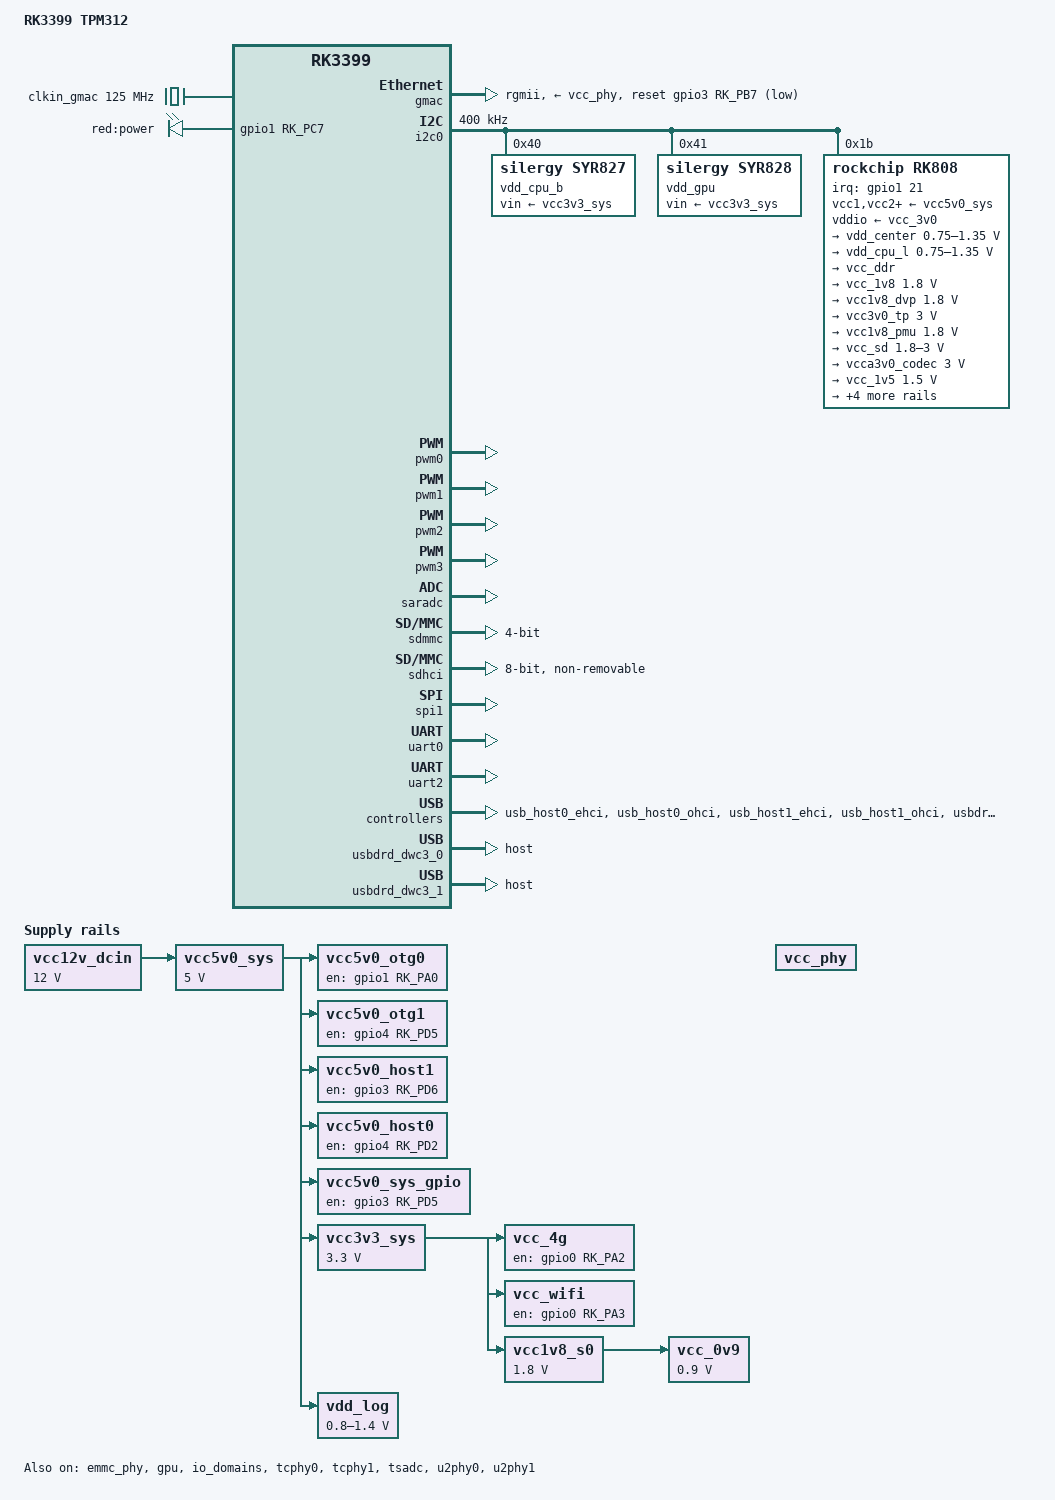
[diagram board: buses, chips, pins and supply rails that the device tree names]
// SPDX-License-Identifier: (GPL-2.0+ OR MIT)
 /*
  * Copyright (c) 2017 Fuzhou Rockchip Electronics Co., Ltd.
  * Copyright (c) 2023 LunaticKochiya <125438787@qq.com>
  */
/dts-v1/;
#include <dt-bindings/pwm/pwm.h>
#include <dt-bindings/input/input.h>
#include <dt-bindings/interrupt-controller/irq.h>
#include "rk3399.dtsi"
#include "rk3399-opp.dtsi"

/ {
	model = "RK3399 TPM312";
	compatible = "rk3399,tpm312", "rockchip,rk3399";

	/delete-node/ display-subsystem;

	aliases {
		ethernet0 = &gmac;
		mmc0 = &sdhci;
		mmc1 = &sdmmc;
		mmc2 = &sdio0;
	};

	chosen {
		bootargs = "earlycon=uart8250,mmio32,0xff1a0000 swiotlb=1 coherent_pool=1m";
		stdout-path = "serial2:1500000n8";
	};

	fiq_debugger: fiq-debugger {
		compatible = "rockchip,fiq-debugger";
		rockchip,serial-id = <2>;
		rockchip,wake-irq = <0>;
		rockchip,irq-mode-enable = <0>;  /* If enable uart uses irq instead of fiq */
		rockchip,baudrate = <1500000>;  /* Only 115200 and 1500000 */
		pinctrl-names = "default";
		pinctrl-0 = <&uart2c_xfer>;
		interrupts = <GIC_SPI 150 IRQ_TYPE_LEVEL_HIGH 0>;
	};

	clkin_gmac: external-gmac-clock {
		compatible = "fixed-clock";
		clock-frequency = <125000000>;
		clock-output-names = "clkin_gmac";
		#clock-cells = <0>;
	};

	vcc5v0_otg0: vcc5v0-otg0-regulator {
		pinctrl-0 = <&otg0_vbus_drv>;
		gpio = <&gpio1 RK_PA0 GPIO_ACTIVE_HIGH>;
		regulator-name = "vcc5v0_otg0";
		enable-active-high;
		compatible = "regulator-fixed";
		pinctrl-names = "default";
		regulator-always-on;
		vin-supply = <&vcc5v0_sys>;
	};

	vcc5v0_otg1: vcc5v0-otg1-regulator {
		pinctrl-0 = <&otg1_vbus_drv>;
		gpio = <&gpio4 RK_PD5 GPIO_ACTIVE_HIGH>;
		regulator-name = "vcc5v0_otg1";
		enable-active-high;
		compatible = "regulator-fixed";
		pinctrl-names = "default";
		regulator-always-on;
		vin-supply = <&vcc5v0_sys>;
	};

	vcc5v0_host1: vcc5v0-host1-regulator {
		pinctrl-0 = <&host1_vbus_drv>;
		gpio = <&gpio3 RK_PD6 GPIO_ACTIVE_HIGH>;
		regulator-name = "vcc5v0_host1";
		enable-active-high;
		compatible = "regulator-fixed";
		pinctrl-names = "default";
		regulator-always-on;
		vin-supply = <&vcc5v0_sys>;
	};

	vcc5v0_host0: vcc5v0-host0-regulator {
		pinctrl-0 = <&host0_vbus_drv>;
		gpio = <&gpio4 RK_PD2 GPIO_ACTIVE_HIGH>;
		regulator-name = "vcc5v0_host0";
		enable-active-high;
		compatible = "regulator-fixed";
		pinctrl-names = "default";
		regulator-always-on;
		vin-supply = <&vcc5v0_sys>;
	};

	vcc5v0-sys {
		regulator-boot-on;
		pinctrl-0 = <&vcc5sys_gpio>;
		gpio = <&gpio3 RK_PD5 GPIO_ACTIVE_HIGH>;
		regulator-name = "vcc5v0_sys_gpio";
		enable-active-high;
		compatible = "regulator-fixed";
		pinctrl-names = "default";
		regulator-always-on;
		vin-supply = <&vcc5v0_sys>;
	};

	vcc-4g {
		regulator-boot-on;
		pinctrl-0 = <&vcc_4g_gpio>;
		gpio = <&gpio0 RK_PA2 GPIO_ACTIVE_HIGH>;
		regulator-name = "vcc_4g";
		enable-active-high;
		compatible = "regulator-fixed";
		pinctrl-names = "default";
		regulator-always-on;
		vin-supply = <&vcc3v3_sys>;
	};

	vcc-wifi {
		pinctrl-0 = <&wifi_host_wake_l>;
		gpio = <&gpio0 RK_PA3 GPIO_ACTIVE_HIGH>;
		regulator-name = "vcc_wifi";
		enable-active-high;
		compatible = "regulator-fixed";
		pinctrl-names = "default";
		regulator-always-on;
		vin-supply = <&vcc3v3_sys>;
	};

	leds {
		compatible = "gpio-leds";
		pinctrl-names = "default";
		pinctrl-0 = <&leds_pins>;
		power_led: led-0 {
			gpios = <&gpio1 RK_PC7 GPIO_ACTIVE_HIGH>;
			label = "red:power";
			default-state = "on";
			linux,default-trigger = "default-on";
			status = "okay";
		};
	};
//REPLACE  dc_5v
	vcc12v_dcin: dc-12v {
		compatible = "regulator-fixed";
		regulator-name = "vcc12v_dcin";
		regulator-always-on;
		regulator-boot-on;
		regulator-min-microvolt = <12000000>;
		regulator-max-microvolt = <12000000>;
	};

	vcc_phy: vcc-phy-regulator {
		compatible = "regulator-fixed";
		regulator-name = "vcc_phy";
		regulator-always-on;
		regulator-boot-on;
	};

	vcc5v0_sys: vcc-sys {
		compatible = "regulator-fixed";
		regulator-name = "vcc5v0_sys";
		regulator-min-microvolt = <5000000>;
		regulator-max-microvolt = <5000000>;
		regulator-always-on;
		regulator-boot-on;
		vin-supply = <&vcc12v_dcin>;
	};

	vcc3v3_sys: vcc3v3-sys {
		compatible = "regulator-fixed";
		regulator-name = "vcc3v3_sys";
		regulator-min-microvolt = <3300000>;
		regulator-max-microvolt = <3300000>;
		regulator-always-on;
		regulator-boot-on;
		vin-supply = <&vcc5v0_sys>;
	};

	vcc1v8_s0: vcc1v8-s0 {
		compatible = "regulator-fixed";
		regulator-name = "vcc1v8_s0";
		regulator-min-microvolt = <1800000>;
		regulator-max-microvolt = <1800000>;
		regulator-always-on;
		vin-supply = <&vcc3v3_sys>;
	};

	vcc_0v9: vcc-0v9 {
		compatible = "regulator-fixed";
		regulator-name = "vcc_0v9";
		regulator-always-on;
		regulator-boot-on;
		regulator-min-microvolt = <900000>;
		regulator-max-microvolt = <900000>;
		vin-supply = <&vcc1v8_s0>;
	};

	vdd_log: vdd-log {
		compatible = "pwm-regulator";
		pwms = <&pwm3 0 25000 1>;
		rockchip,pwm_voltage = <900000>;
		pwm-supply = <&vcc5v0_sys>;
		regulator-name = "vdd_log";
		regulator-min-microvolt = <800000>;
		regulator-max-microvolt = <1400000>;
		regulator-always-on;
		regulator-boot-on;
	};

};

&cpu_l0 {
	cpu-supply = <&vdd_cpu_l>;
};

&cpu_l1 {
	cpu-supply = <&vdd_cpu_l>;
};

&cpu_l2 {
	cpu-supply = <&vdd_cpu_l>;
};

&cpu_l3 {
	cpu-supply = <&vdd_cpu_l>;
};

&cpu_b0 {
	cpu-supply = <&vdd_cpu_b>;
};

&cpu_b1 {
	cpu-supply = <&vdd_cpu_b>;
};

&emmc_phy {
	status = "okay";
};

&gmac {
	assigned-clocks = <&cru SCLK_RMII_SRC>;
	assigned-clock-parents = <&clkin_gmac>;
	clock_in_out = "input";
	phy-supply = <&vcc_phy>;
	phy-mode = "rgmii";
	pinctrl-names = "default";
	pinctrl-0 = <&rgmii_pins>;
	snps,reset-gpio = <&gpio3 RK_PB7 GPIO_ACTIVE_LOW>;
	snps,reset-active-low;
	snps,reset-delays-us = <0 10000 50000>;
	tx_delay = <0x28>;
	rx_delay = <0x11>;
	status = "okay";
};

&gpu {
	status = "okay";
	mali-supply = <&vdd_gpu>;
};

&i2c0 {
	status = "okay";
	i2c-scl-rising-time-ns = <168>;
	i2c-scl-falling-time-ns = <4>;
	clock-frequency = <400000>;

	vdd_cpu_b: syr827@40 {
		compatible = "silergy,syr827";
		reg = <0x40>;
		regulator-compatible = "fan53555-reg";
		pinctrl-0 = <&vsel1_pin>;
		regulator-name = "vdd_cpu_b";
		regulator-min-microvolt = <712500>;
		regulator-max-microvolt = <1500000>;
		regulator-ramp-delay = <1000>;
		fcs,suspend-voltage-selector = <1>;
		regulator-always-on;
		regulator-boot-on;
		vin-supply = <&vcc3v3_sys>;
		regulator-state-mem {
			regulator-off-in-suspend;
		};
	};

	vdd_gpu: syr828@41 {
		compatible = "silergy,syr828";
		reg = <0x41>;
		regulator-compatible = "fan53555-reg";
		pinctrl-0 = <&vsel2_pin>;
		regulator-name = "vdd_gpu";
		regulator-min-microvolt = <712500>;
		regulator-max-microvolt = <1500000>;
		regulator-ramp-delay = <1000>;
		fcs,suspend-voltage-selector = <1>;
		regulator-always-on;
		regulator-boot-on;
		vin-supply = <&vcc3v3_sys>;
		regulator-initial-mode = <1>;
		regulator-state-mem {
			regulator-off-in-suspend;
		};
	};

	rk808: pmic@1b {
		compatible = "rockchip,rk808";
		reg = <0x1b>;
		interrupt-parent = <&gpio1>;
		interrupts = <21 IRQ_TYPE_LEVEL_LOW>;
		pinctrl-names = "default";
		pinctrl-0 = <&pmic_int_l &pmic_dvs2>;
		rockchip,system-power-controller;
		wakeup-source;
		#clock-cells = <1>;
		clock-output-names = "xin32k", "rk808-clkout2";

		vcc1-supply = <&vcc5v0_sys>;
		vcc2-supply = <&vcc5v0_sys>;
		vcc3-supply = <&vcc5v0_sys>;
		vcc4-supply = <&vcc5v0_sys>;
		vcc6-supply = <&vcc5v0_sys>;
		vcc7-supply = <&vcc5v0_sys>;
		vcc8-supply = <&vcc5v0_sys>;
		vcc9-supply = <&vcc5v0_sys>;
		vcc10-supply = <&vcc5v0_sys>;
		vcc11-supply = <&vcc5v0_sys>;
		vcc12-supply = <&vcc5v0_sys>;
		vddio-supply = <&vcc_3v0>;

		regulators {
			vdd_center: DCDC_REG1 {
				regulator-name = "vdd_center";
				regulator-min-microvolt = <750000>;
				regulator-max-microvolt = <1350000>;
				regulator-ramp-delay = <6001>;
				regulator-always-on;
				regulator-boot-on;
				regulator-state-mem {
					regulator-off-in-suspend;
				};
			};

			vdd_cpu_l: DCDC_REG2 {
				regulator-name = "vdd_cpu_l";
				regulator-min-microvolt = <750000>;
				regulator-max-microvolt = <1350000>;
				regulator-ramp-delay = <6001>;
				regulator-always-on;
				regulator-boot-on;
				regulator-state-mem {
					regulator-off-in-suspend;
				};
			};

			vcc_ddr: DCDC_REG3 {
				regulator-name = "vcc_ddr";
				regulator-always-on;
				regulator-boot-on;
				regulator-state-mem {
					regulator-on-in-suspend;
				};
			};

			vcc_1v8: DCDC_REG4 {
				regulator-name = "vcc_1v8";
				regulator-min-microvolt = <1800000>;
				regulator-max-microvolt = <1800000>;
				regulator-always-on;
				regulator-boot-on;
				regulator-state-mem {
					regulator-on-in-suspend;
					regulator-suspend-microvolt = <1800000>;
				};
			};

			vcc1v8_dvp: LDO_REG1 {
				regulator-name = "vcc1v8_dvp";
				regulator-min-microvolt = <1800000>;
				regulator-max-microvolt = <1800000>;
				regulator-always-on;
				regulator-boot-on;
				regulator-state-mem {
					regulator-on-in-suspend;
				};
			};

			vcc3v0_tp: LDO_REG2 {
				regulator-name = "vcc3v0_tp";
				regulator-min-microvolt = <3000000>;
				regulator-max-microvolt = <3000000>;
				regulator-always-on;
				regulator-boot-on;
				regulator-state-mem {
					regulator-off-in-suspend;
				};
			};

			vcc1v8_pmu: LDO_REG3 {
				regulator-name = "vcc1v8_pmu";
				regulator-min-microvolt = <1800000>;
				regulator-max-microvolt = <1800000>;
				regulator-always-on;
				regulator-boot-on;
				regulator-state-mem {
					regulator-on-in-suspend;
					regulator-suspend-microvolt = <1800000>;
				};
			};

			vcc_sd: LDO_REG4 {
				regulator-name = "vcc_sd";
				regulator-min-microvolt = <1800000>;
				regulator-max-microvolt = <3000000>;
				regulator-always-on;
				regulator-boot-on;
				regulator-state-mem {
					regulator-on-in-suspend;
					regulator-suspend-microvolt = <3000000>;
				};
			};

			vcca3v0_codec: LDO_REG5 {
				regulator-name = "vcca3v0_codec";
				regulator-min-microvolt = <3000000>;
				regulator-max-microvolt = <3000000>;
				regulator-always-on;
				regulator-boot-on;
				regulator-state-mem {
					regulator-off-in-suspend;
				};
			};

			vcc_1v5: LDO_REG6 {
				regulator-name = "vcc_1v5";
				regulator-min-microvolt = <1500000>;
				regulator-max-microvolt = <1500000>;
				regulator-always-on;
				regulator-boot-on;
				regulator-state-mem {
					regulator-on-in-suspend;
					regulator-suspend-microvolt = <1500000>;
				};
			};

			vcca1v8_codec: LDO_REG7 {
				regulator-name = "vcca1v8_codec";
				regulator-min-microvolt = <1800000>;
				regulator-max-microvolt = <1800000>;
				regulator-always-on;
				regulator-boot-on;
				regulator-state-mem {
					regulator-off-in-suspend;
				};
			};

			vcc_3v0: LDO_REG8 {
				regulator-name = "vcc_3v0";
				regulator-min-microvolt = <3000000>;
				regulator-max-microvolt = <3000000>;
				regulator-always-on;
				regulator-boot-on;
				regulator-state-mem {
					regulator-on-in-suspend;
					regulator-suspend-microvolt = <3000000>;
				};
			};

			vcc3v3_s3: SWITCH_REG1 {
				regulator-name = "vcc3v3_s3";
				regulator-always-on;
				regulator-boot-on;
				regulator-state-mem {
					regulator-off-in-suspend;
				};
			};

			vcc3v3_s0: SWITCH_REG2 {
				regulator-name = "vcc3v3_s0";
				regulator-always-on;
				regulator-boot-on;
				regulator-state-mem {
					regulator-off-in-suspend;
				};
			};
		};
	};
};

&io_domains {
	status = "okay";
	audio-supply = <&vcca1v8_codec>;
	bt656-supply = <&vcc1v8_dvp>;
	gpio1830-supply = <&vcc_3v0>;
	sdmmc-supply = <&vcc_sd>;
};

&pmu_io_domains {
	status = "okay";
	pmu1830-supply = <&vcc_3v0>;
};

&pinctrl {

	gmac {
		rgmii_sleep_pins: rgmii-sleep-pins {
			rockchip,pins =
				<3 RK_PB7 RK_FUNC_GPIO &pcfg_output_low>;
		};
	};

	pmic {
		vcc5sys_gpio: vcc5sys-gpio {
				rockchip,pins = <3 RK_PD5 RK_FUNC_GPIO &pcfg_pull_down>;
			};

		vcc_4g_gpio: vcc-4g-gpio {
				rockchip,pins = <0 RK_PA2 RK_FUNC_GPIO &pcfg_pull_none>;
			};

		pmic_int_l: pmic-int-l {
			rockchip,pins =
				<1 RK_PC6 RK_FUNC_GPIO &pcfg_pull_up>;
		};

		pmic_dvs2: pmic-dvs2 {
			rockchip,pins =
				<1 RK_PA5 RK_FUNC_GPIO &pcfg_pull_down>;
		};

		vsel1_pin: vsel1-pin {
			rockchip,pins =
				<1 RK_PC1 RK_FUNC_GPIO &pcfg_pull_down>;
		};

		vsel2_pin: vsel2-pin {
			rockchip,pins =
				<1 RK_PB6 RK_FUNC_GPIO &pcfg_pull_down>;
		};
	};

	u2phy0 {
		otg0_vbus_drv: otg0-vbus-drv {
			rockchip,pins = <1 RK_PA0 RK_FUNC_GPIO &pcfg_pull_none>;
		};
		host0_vbus_drv: host0-vbus-drv {
			rockchip,pins = <4 RK_PD2 RK_FUNC_GPIO &pcfg_pull_none>;
		};
	};

	u2phy1 {
		otg1_vbus_drv: otg1-vbus-drv {
			rockchip,pins = <4 RK_PD5 RK_FUNC_GPIO &pcfg_pull_none>;
		};
		host1_vbus_drv: host1-vbus-drv {
			rockchip,pins = <3 RK_PD6 RK_FUNC_GPIO &pcfg_pull_none>;
		};
	};

	wifi {
		wifi_host_wake_l: wifi-host-wake-l {
			rockchip,pins = <0 RK_PA3 RK_FUNC_GPIO &pcfg_pull_none>;
		};
	};

	uart1 {
		uart1_xfer: uart1-xfer {
			rockchip,pins =
			    <3 RK_PC3 2 &pcfg_pull_up>,
			    <3 RK_PC4 2 &pcfg_pull_none>;
		};
	};

	leds {
		leds_pins: leds-pins {
			rockchip,pins = <1 RK_PC7 RK_FUNC_GPIO &pcfg_pull_up>;
		};
	};

};

&pwm0 {
	status = "okay";
};

&pwm1 {
	status = "okay";
};

&pwm2 {
	status = "okay";
};

&pwm3 {
	status = "okay";
};

&saradc {
	status = "okay";
};

&sdmmc {
	clock-frequency = <150000000>;
	max-frequency = <150000000>;
	supports-sd;
	bus-width = <4>;
	cap-mmc-highspeed;
	cap-sd-highspeed;
	disable-wp;
	vqmmc-supply = <&vcc_sd>;
	pinctrl-names = "default";
	pinctrl-0 = <&sdmmc_clk &sdmmc_cmd &sdmmc_cd &sdmmc_bus4>;
	card-detect-delay = <800>;
	status = "okay";
};

&sdhci {
	bus-width = <8>;
	mmc-hs400-1_8v;
	mmc-hs400-enhanced-strobe;
	supports-emmc;
	non-removable;
	keep-power-in-suspend;
	status = "okay";
};

&spi1 {
	status = "okay";
};

&tcphy0 {
	status = "okay";
};

&tcphy1 {
	status = "okay";
};

&tsadc {
	rockchip,hw-tshut-mode = <1>;
	rockchip,hw-tshut-polarity = <1>;
	status = "okay";
};

&u2phy0 {
	status = "okay";

	u2phy0_otg: otg-port {
		phy-supply = <&vcc5v0_otg0>;
		status = "okay";
	};

	u2phy0_host: host-port {
		phy-supply = <&vcc5v0_host0>;
		status = "okay";
	};
};

&u2phy1 {
	status = "okay";

	u2phy1_otg: otg-port {
		phy-supply = <&vcc5v0_otg1>;
		status = "okay";
	};

	u2phy1_host: host-port {
		phy-supply = <&vcc5v0_host1>;
		status = "okay";
	};
};

&uart0 {
	pinctrl-names = "default";
	pinctrl-0 = <&uart0_xfer &uart0_cts &uart0_rts>;
	status = "okay";
};

&uart1 {
	pinctrl-0 = <&uart1_xfer>;
	status = "disabled";
};

&uart2 {
	pinctrl-names = "default";
	pinctrl-0 = <&uart2c_xfer>;
	status = "okay";
};

&usb_host0_ehci {
	status = "okay";
};

&usb_host0_ohci {
	status = "okay";
};

&usb_host1_ehci {
	status = "okay";
};

&usb_host1_ohci {
	status = "okay";
};

&usbdrd3_0 {
	status = "okay";
};

&usbdrd_dwc3_0 {
	dr_mode = "host";
	status = "okay";
};

&usbdrd3_1 {
	status = "okay";
};

&usbdrd_dwc3_1 {
	dr_mode = "host";
	status = "okay";
};
